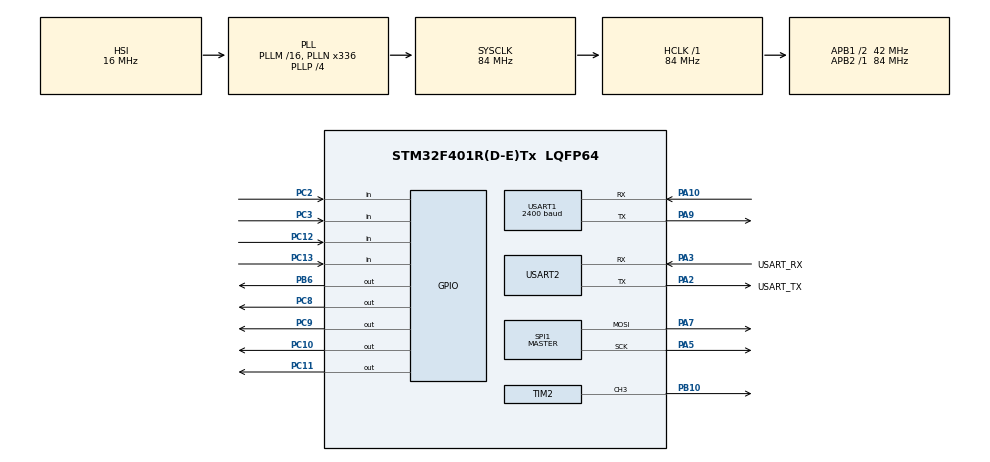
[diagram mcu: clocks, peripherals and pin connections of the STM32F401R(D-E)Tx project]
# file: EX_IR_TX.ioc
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Mcu.Family=STM32F4
Mcu.Name=STM32F401R(D-E)Tx
Mcu.Package=LQFP64
NVIC.PriorityGroup=NVIC_PRIORITYGROUP_0
NVIC.TIM1_BRK_TIM9_IRQn=true\:0\:0\:false\:false\:true\:true\:true\:true
NVIC.TIM1_CC_IRQn=true\:0\:0\:false\:false\:true\:true\:true\:true
NVIC.TIM1_TRG_COM_TIM11_IRQn=true\:0\:0\:false\:false\:true\:true\:true\:true
NVIC.TIM1_UP_TIM10_IRQn=true\:0\:0\:false\:false\:true\:true\:true\:true
NVIC.TIM3_IRQn=true\:0\:0\:false\:false\:true\:true\:true\:true
NVIC.TIM4_IRQn=true\:0\:0\:false\:false\:true\:true\:true\:true
NVIC.USART1_IRQn=true\:0\:0\:false\:false\:true\:true\:true\:true
PA10.Mode=Asynchronous
PA10.Signal=USART1_RX
PA13.GPIO_Label=TMS
PA13.Mode=Serial_Wire
PA13.Signal=SYS_JTMS-SWDIO
PA14.GPIO_Label=TCK
PA14.Mode=Serial_Wire
PA14.Signal=SYS_JTCK-SWCLK
PA2.GPIO_Label=USART_TX
PA2.GPIO_Mode=GPIO_MODE_AF_PP
PA2.GPIO_PuPd=GPIO_NOPULL
PA2.GPIO_Speed=GPIO_SPEED_FREQ_LOW
PA2.Mode=Asynchronous
PA2.Signal=USART2_TX
PA3.GPIO_Label=USART_RX
PA3.GPIO_Mode=GPIO_MODE_AF_PP
PA3.GPIO_PuPd=GPIO_NOPULL
PA3.GPIO_Speed=GPIO_SPEED_FREQ_LOW
PA3.Mode=Asynchronous
PA3.Signal=USART2_RX
PA5.Mode=TX_Only_Simplex_Unidirect_Master
PA5.Signal=SPI1_SCK
PA7.Mode=TX_Only_Simplex_Unidirect_Master
PA7.Signal=SPI1_MOSI
PA9.Mode=Asynchronous
PA9.Signal=USART1_TX
PB10.Signal=S_TIM2_CH3
PB3.GPIO_Label=SWO
PB3.Signal=SYS_JTDO-SWO
PB6.Signal=GPIO_Output
PC10.Signal=GPIO_Output
PC11.Signal=GPIO_Output
PC12.Signal=GPIO_Input
PC13-ANTI_TAMP.Signal=GPIO_Input
PC14-OSC32_IN.Mode=LSE-External-Oscillator
PC14-OSC32_IN.Signal=RCC_OSC32_IN
PC15-OSC32_OUT.Mode=LSE-External-Oscillator
PC15-OSC32_OUT.Signal=RCC_OSC32_OUT
PC2.Signal=GPIO_Input
PC3.Signal=GPIO_Input
PC8.Signal=GPIO_Output
PC9.Signal=GPIO_Output
PH0\ -\ OSC_IN.Mode=HSE-External-Clock-Source
PH0\ -\ OSC_IN.Signal=RCC_OSC_IN
PH1\ -\ OSC_OUT.Mode=HSE-External-Clock-Source
PH1\ -\ OSC_OUT.Signal=RCC_OSC_OUT
ProjectManager.HeapSize=0x200
ProjectManager.StackSize=0x400
ProjectManager.TargetToolchain=STM32CubeIDE
RCC.48MHZClocksFreq_Value=48000000
RCC.AHBFreq_Value=84000000
RCC.APB1CLKDivider=RCC_HCLK_DIV2
RCC.APB1Freq_Value=42000000
RCC.APB1TimFreq_Value=84000000
RCC.APB2Freq_Value=84000000
RCC.APB2TimFreq_Value=84000000
RCC.CortexFreq_Value=84000000
RCC.HCLKFreq_Value=84000000
RCC.HSE_VALUE=8000000
RCC.HSI_VALUE=16000000
RCC.PLLN=336
RCC.PLLP=RCC_PLLP_DIV4
RCC.PLLQ=7
RCC.SYSCLKFreq_VALUE=84000000
RCC.SYSCLKSource=RCC_SYSCLKSOURCE_PLLCLK
RCC.VCOOutputFreq_Value=336000000
SH.S_TIM2_CH3.0=TIM2_CH3,PWM Generation3 CH3
SPI1.Direction=SPI_DIRECTION_2LINES
SPI1.Mode=SPI_MODE_MASTER
SPI1.VirtualType=VM_MASTER
TIM1.Period=500-1
TIM1.Prescaler=8400-1
TIM2.Channel-PWM\ Generation3\ CH3=TIM_CHANNEL_3
TIM2.Period=2210-1
TIM2.Prescaler=1-1
TIM2.Pulse-PWM\ Generation3\ CH3=1105-1
TIM3.Period=35000-1
TIM3.Prescaler=1-1
TIM4.Period=40-1
TIM4.Prescaler=8400-1
USART1.BaudRate=2400
USART1.Mode=MODE_TX_RX
USART1.VirtualMode=VM_ASYNC
USART2.VirtualMode=VM_ASYNC
VP_TIM1_VS_ClockSourceINT.Mode=Internal
VP_TIM2_VS_ClockSourceINT.Mode=Internal
VP_TIM3_VS_ClockSourceINT.Mode=Internal
VP_TIM4_VS_ClockSourceINT.Mode=Internal
board=NUCLEO-F401RE

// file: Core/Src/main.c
/* USER CODE BEGIN Header */
/**
  ******************************************************************************
  * @file           : main.c
  * @brief          : Main program body
  ******************************************************************************
  * @attention
  *
  * Copyright (c) 2022 STMicroelectronics.
  * All rights reserved.
  *
  * This software is licensed under terms that can be found in the LICENSE file
  * in the root directory of this software component.
  * If no LICENSE file comes with this software, it is provided AS-IS.
  *
  ******************************************************************************
  */
/* USER CODE END Header */
#include "main.h"

/* USER CODE BEGIN PD */
//--------------- TRANSMISSION --------------------
//Pin setups for the keyboard
#define PIN_C0 GPIOC,GPIO_PIN_11
#define PIN_C1 GPIOC,GPIO_PIN_10
#define PIN_C2 GPIOC, GPIO_PIN_9
#define PIN_C3 GPIOC, GPIO_PIN_8

#define PIN_R0 GPIOC, GPIO_PIN_3
#define PIN_R1 GPIOC, GPIO_PIN_2
#define PIN_R2 GPIOC, GPIO_PIN_13
#define PIN_R3 GPIOC, GPIO_PIN_12

//Bit setups for payload
#define START_BIT_VALUE 0
#define STOP_BIT_VALUE 1
//--------------- RECEPTION -----------------------
//Clock pin
#define RCLK_PIN 		GPIOB, GPIO_PIN_6

#define TIME_UNIT		250

#define NUMBER_OF_CHAR	16

//LED Matrix setups for every character available
#define ZERO 			{{ 62,16}, {69,8}, { 73,4}, { 81,2}, { 62,1}}
#define ONE 			{{  0,16}, {33,8}, {127,4}, {  1,2}, {  0,1}}
#define TWO 			{{ 35,16}, {69,8}, { 73,4}, { 81,2}, { 33,1}}
#define THREE 			{{ 65,16}, {73,8}, { 73,4}, { 73,2}, { 54,1}}
#define FOUR 			{{ 12,16}, {20,8}, { 36,4}, {127,2}, {  4,1}}
#define FIVE 			{{121,16}, {73,8}, { 73,4}, { 73,2}, { 70,1}}
#define SIX 			{{ 62,16}, {73,8}, { 73,4}, { 73,2}, {  6,1}}
#define SEVEN 			{{ 64,16}, {64,8}, { 67,4}, { 76,2}, {112,1}}
#define EIGHT 			{{ 54,16}, {73,8}, { 73,4}, { 73,2}, { 54,1}}
#define NINE 			{{ 48,16}, {73,8}, { 73,4}, { 73,2}, { 62,1}}
#define A 				{{ 31,16}, {36,8}, { 68,4}, { 36,2}, { 31,1}}
#define B 				{{127,16}, {73,8}, { 73,4}, { 73,2}, { 54,1}}
#define C 				{{ 62,16}, {65,8}, { 65,4}, { 65,2}, { 34,1}}
#define D 				{{127,16}, {65,8}, { 65,4}, { 65,2}, { 62,1}}
#define E 				{{127,16}, {73,8}, { 73,4}, { 73,2}, { 65,1}}
#define F 				{{127,16}, {72,8}, { 72,4}, { 72,2}, { 64,1}}
/* USER CODE END PD */

SPI_HandleTypeDef hspi1;

TIM_HandleTypeDef htim1;
TIM_HandleTypeDef htim2;
TIM_HandleTypeDef htim3;
TIM_HandleTypeDef htim4;

UART_HandleTypeDef huart1;
UART_HandleTypeDef huart2;

void SystemClock_Config(void);
static void MX_GPIO_Init(void);
static void MX_USART2_UART_Init(void);
static void MX_TIM2_Init(void);
static void MX_USART1_UART_Init(void);
static void MX_SPI1_Init(void);
static void MX_TIM3_Init(void);
static void MX_TIM1_Init(void);
static void MX_TIM4_Init(void);

/* USER CODE BEGIN 0 */

//----------- TRANSMISSION -------------------
int column_counter = 0,counter, bit_counter;

//keyboard settings
uint32_t pressedButtons[16];
uint32_t ack[16] = {0};

uint16_t bits[10]; //bits to be transmitted 1 start bit + 8bit payload + 1 stop bit

char map[16] = "FB73EA62D951C840";

//----------- RECEPTION -----------------------
int column_index = 0, char_index = 0;
int counter_time = 0;

uint8_t message;  //stores the received char

//Tridimensional matrix used to assign the correct one to be shown by the LED matrix
uint8_t matrix[NUMBER_OF_CHAR][5][2] = {ZERO, ONE, TWO, THREE, FOUR, FIVE, SIX, SEVEN, EIGHT, NINE, A, B, C, D, E, F};
uint8_t reset_values[2] = {0, 0};

void HAL_TIM_PeriodElapsedCallback(TIM_HandleTypeDef *htim)
{
	if(htim == &htim1)
	{
		//Checks if a button of the row is pressed
		 if(HAL_GPIO_ReadPin(PIN_R0))
			 pressedButtons[4*column_counter] = 0;
		 else
			 pressedButtons[4*column_counter]++;

		 if(HAL_GPIO_ReadPin(PIN_R1))
			 pressedButtons[4*column_counter+1] = 0; //0-> button is not pressed or released
		 else
			 pressedButtons[4*column_counter+1]++; //increment for the duration of pressing

		 if(HAL_GPIO_ReadPin(PIN_R2))
			 pressedButtons[4*column_counter+2] = 0;
		 else
			 pressedButtons[4*column_counter+2]++;

		 if(HAL_GPIO_ReadPin(PIN_R3))
			 pressedButtons[4*column_counter+3] = 0;
		 else
			 pressedButtons[4*column_counter+3]++;

		 column_counter++;
		 if(column_counter == 4) column_counter = 0;

		//Toggles the current column to scan the rows
		 switch(column_counter)
		 {
			 case 0:
				 HAL_GPIO_WritePin(PIN_C0, 1);
				 HAL_GPIO_WritePin(PIN_C1, 0);
				 HAL_GPIO_WritePin(PIN_C2, 0);
				 HAL_GPIO_WritePin(PIN_C3, 0);
				 break;
			 case 1:
				 HAL_GPIO_WritePin(PIN_C1, 1);
				 HAL_GPIO_WritePin(PIN_C0, 0);
				 HAL_GPIO_WritePin(PIN_C2, 0);
				 HAL_GPIO_WritePin(PIN_C3, 0);
				 break;
			 case 2:
				 HAL_GPIO_WritePin(PIN_C2, 1);
				 HAL_GPIO_WritePin(PIN_C1, 0);
				 HAL_GPIO_WritePin(PIN_C0, 0);
				 HAL_GPIO_WritePin(PIN_C3, 0);
				 break;
			 case 3:
				 HAL_GPIO_WritePin(PIN_C3, 1);
				 HAL_GPIO_WritePin(PIN_C1, 0);
				 HAL_GPIO_WritePin(PIN_C2, 0);
				 HAL_GPIO_WritePin(PIN_C0, 0);
				 break;
		 }
	}else if(htim == &htim3)
	{
		//for every interrupt we send out a single bit
		if(bit_counter <=9)
		{
			if(!bits[bit_counter]) //if bit = 0 LED pulses at 38kHz
			{
				HAL_TIM_PWM_Start(&htim2, TIM_CHANNEL_3);
			}
			else //otherwise it shuts down
			{
				HAL_TIM_PWM_Stop(&htim2, TIM_CHANNEL_3);
			}
		 }
		 else // when we get to the last bit (the 10th) we shut down PWM and Timer 3
	     {
			HAL_TIM_PWM_Stop(&htim2, TIM_CHANNEL_3);
			HAL_TIM_Base_Stop_IT(&htim3);
	     }
		 bit_counter ++;
	}else if (htim == &htim4)
	{
			//SPI usage
	}
}

void send_character(uint8_t payload)
{

	//auxiliary variable that holds the current bit to be sent out
	uint8_t current_v;

	bits[0] = START_BIT_VALUE; //1 to start communication
	bits[9] = STOP_BIT_VALUE;  //0 to stop communication

	for(int i = 0;i < 8 ; i++)
	{
		//filter only the ith bit, as the transmission is LSB->MSB
		current_v = (payload >> i) & 0b00000001;

		//sets up the bit string to be sent out
		bits[i+1] = current_v;
	}

    //resets the bit_counter which is later used for transmission
	bit_counter = 0;

	//starts the timer 3, which operates at a 2400 bps speed
	HAL_TIM_Base_Start_IT(&htim3);
}

void HAL_UART_RxCpltCallback(UART_HandleTypeDef *huart)
{
	if(huart == &huart1)
	{
		//Upon reception, send the received character to the remote terminal of the PC
		HAL_UART_Transmit(&huart2, &message, 1, 200);

		//Restart the uart1 for following messages
		HAL_UART_Receive_IT(&huart1, &message, 1);
	}

}
/* USER CODE END 0 */

int main(void)
{

  /* MCU Configuration--------------------------------------------------------*/

  /* Reset of all peripherals, Initializes the Flash interface and the Systick. */
  HAL_Init();

  /* Configure the system clock */
  SystemClock_Config();

  /* Initialize all configured peripherals */
  MX_GPIO_Init();
  MX_USART2_UART_Init();
  MX_TIM2_Init();
  MX_USART1_UART_Init();
  MX_SPI1_Init();
  MX_TIM3_Init();
  MX_TIM1_Init();
  MX_TIM4_Init();
  /* USER CODE BEGIN 2 */
  int min_duration = 2;
  HAL_TIM_Base_Start_IT(&htim1);
  uint8_t payload = 0b00000000;
  HAL_UART_Receive_IT(&huart1, &message, 1); //assigns to message variable the received byte

  /* USER CODE END 2 */

  /* Infinite loop */
  /* USER CODE BEGIN WHILE */
  while (1)
  {
	  for(counter = 0; counter < 16; counter++)
	  	 {
	  		 if(pressedButtons[counter] > min_duration) //if you press the button for more than 50*3 milliseconds it will be considered
	  		 {
	  			 if(!ack[counter])
	  			 {
	  				 //HAL_UART_Transmit(&huart2, &map[counter], 1, 200);
	  				 //send the pressed character via IR
	  				 payload = map[counter];
	  				 send_character(payload);
	  				 ack[counter] = 1;
	  			 }

	  		 }else
	  		 {
	  			 ack[counter] = 0;
	  		 }
	  	 }
    /* USER CODE END WHILE */

  }
}

void SystemClock_Config(void)
{
  RCC_OscInitTypeDef RCC_OscInitStruct = {0};
  RCC_ClkInitTypeDef RCC_ClkInitStruct = {0};

  /** Configure the main internal regulator output voltage
  */
  __HAL_RCC_PWR_CLK_ENABLE();
  __HAL_PWR_VOLTAGESCALING_CONFIG(PWR_REGULATOR_VOLTAGE_SCALE2);
  /** Initializes the RCC Oscillators according to the specified parameters
  * in the RCC_OscInitTypeDef structure.
  */
  RCC_OscInitStruct.OscillatorType = RCC_OSCILLATORTYPE_HSI;
  RCC_OscInitStruct.HSIState = RCC_HSI_ON;
  RCC_OscInitStruct.HSICalibrationValue = RCC_HSICALIBRATION_DEFAULT;
  RCC_OscInitStruct.PLL.PLLState = RCC_PLL_ON;
  RCC_OscInitStruct.PLL.PLLSource = RCC_PLLSOURCE_HSI;
  RCC_OscInitStruct.PLL.PLLM = 16;
  RCC_OscInitStruct.PLL.PLLN = 336;
  RCC_OscInitStruct.PLL.PLLP = RCC_PLLP_DIV4;
  RCC_OscInitStruct.PLL.PLLQ = 7;
  if (HAL_RCC_OscConfig(&RCC_OscInitStruct) != HAL_OK)
  {
    Error_Handler();
  }
  /** Initializes the CPU, AHB and APB buses clocks
  */
  RCC_ClkInitStruct.ClockType = RCC_CLOCKTYPE_HCLK|RCC_CLOCKTYPE_SYSCLK
                              |RCC_CLOCKTYPE_PCLK1|RCC_CLOCKTYPE_PCLK2;
  RCC_ClkInitStruct.SYSCLKSource = RCC_SYSCLKSOURCE_PLLCLK;
  RCC_ClkInitStruct.AHBCLKDivider = RCC_SYSCLK_DIV1;
  RCC_ClkInitStruct.APB1CLKDivider = RCC_HCLK_DIV2;
  RCC_ClkInitStruct.APB2CLKDivider = RCC_HCLK_DIV1;

  if (HAL_RCC_ClockConfig(&RCC_ClkInitStruct, FLASH_LATENCY_2) != HAL_OK)
  {
    Error_Handler();
  }
}

static void MX_SPI1_Init(void)
{

  /* SPI1 parameter configuration*/
  hspi1.Instance = SPI1;
  hspi1.Init.Mode = SPI_MODE_MASTER;
  hspi1.Init.Direction = SPI_DIRECTION_2LINES;
  hspi1.Init.DataSize = SPI_DATASIZE_8BIT;
  hspi1.Init.CLKPolarity = SPI_POLARITY_LOW;
  hspi1.Init.CLKPhase = SPI_PHASE_1EDGE;
  hspi1.Init.NSS = SPI_NSS_SOFT;
  hspi1.Init.BaudRatePrescaler = SPI_BAUDRATEPRESCALER_2;
  hspi1.Init.FirstBit = SPI_FIRSTBIT_MSB;
  hspi1.Init.TIMode = SPI_TIMODE_DISABLE;
  hspi1.Init.CRCCalculation = SPI_CRCCALCULATION_DISABLE;
  hspi1.Init.CRCPolynomial = 10;
  if (HAL_SPI_Init(&hspi1) != HAL_OK)
  {
    Error_Handler();
  }

}

static void MX_TIM1_Init(void)
{

  TIM_ClockConfigTypeDef sClockSourceConfig = {0};
  TIM_MasterConfigTypeDef sMasterConfig = {0};

  htim1.Instance = TIM1;
  htim1.Init.Prescaler = 8400-1;
  htim1.Init.CounterMode = TIM_COUNTERMODE_UP;
  htim1.Init.Period = 500-1;
  htim1.Init.ClockDivision = TIM_CLOCKDIVISION_DIV1;
  htim1.Init.RepetitionCounter = 0;
  htim1.Init.AutoReloadPreload = TIM_AUTORELOAD_PRELOAD_DISABLE;
  if (HAL_TIM_Base_Init(&htim1) != HAL_OK)
  {
    Error_Handler();
  }
  sClockSourceConfig.ClockSource = TIM_CLOCKSOURCE_INTERNAL;
  if (HAL_TIM_ConfigClockSource(&htim1, &sClockSourceConfig) != HAL_OK)
  {
    Error_Handler();
  }
  sMasterConfig.MasterOutputTrigger = TIM_TRGO_RESET;
  sMasterConfig.MasterSlaveMode = TIM_MASTERSLAVEMODE_DISABLE;
  if (HAL_TIMEx_MasterConfigSynchronization(&htim1, &sMasterConfig) != HAL_OK)
  {
    Error_Handler();
  }

}

static void MX_TIM2_Init(void)
{

  TIM_ClockConfigTypeDef sClockSourceConfig = {0};
  TIM_MasterConfigTypeDef sMasterConfig = {0};
  TIM_OC_InitTypeDef sConfigOC = {0};

  htim2.Instance = TIM2;
  htim2.Init.Prescaler = 1-1;
  htim2.Init.CounterMode = TIM_COUNTERMODE_UP;
  htim2.Init.Period = 2210-1;
  htim2.Init.ClockDivision = TIM_CLOCKDIVISION_DIV1;
  htim2.Init.AutoReloadPreload = TIM_AUTORELOAD_PRELOAD_DISABLE;
  if (HAL_TIM_Base_Init(&htim2) != HAL_OK)
  {
    Error_Handler();
  }
  sClockSourceConfig.ClockSource = TIM_CLOCKSOURCE_INTERNAL;
  if (HAL_TIM_ConfigClockSource(&htim2, &sClockSourceConfig) != HAL_OK)
  {
    Error_Handler();
  }
  if (HAL_TIM_PWM_Init(&htim2) != HAL_OK)
  {
    Error_Handler();
  }
  sMasterConfig.MasterOutputTrigger = TIM_TRGO_RESET;
  sMasterConfig.MasterSlaveMode = TIM_MASTERSLAVEMODE_DISABLE;
  if (HAL_TIMEx_MasterConfigSynchronization(&htim2, &sMasterConfig) != HAL_OK)
  {
    Error_Handler();
  }
  sConfigOC.OCMode = TIM_OCMODE_PWM1;
  sConfigOC.Pulse = 1105-1;
  sConfigOC.OCPolarity = TIM_OCPOLARITY_HIGH;
  sConfigOC.OCFastMode = TIM_OCFAST_DISABLE;
  if (HAL_TIM_PWM_ConfigChannel(&htim2, &sConfigOC, TIM_CHANNEL_3) != HAL_OK)
  {
    Error_Handler();
  }
  HAL_TIM_MspPostInit(&htim2);

}

static void MX_TIM3_Init(void)
{

  TIM_ClockConfigTypeDef sClockSourceConfig = {0};
  TIM_MasterConfigTypeDef sMasterConfig = {0};

  htim3.Instance = TIM3;
  htim3.Init.Prescaler = 1-1;
  htim3.Init.CounterMode = TIM_COUNTERMODE_UP;
  htim3.Init.Period = 35000-1;
  htim3.Init.ClockDivision = TIM_CLOCKDIVISION_DIV1;
  htim3.Init.AutoReloadPreload = TIM_AUTORELOAD_PRELOAD_DISABLE;
  if (HAL_TIM_Base_Init(&htim3) != HAL_OK)
  {
    Error_Handler();
  }
  sClockSourceConfig.ClockSource = TIM_CLOCKSOURCE_INTERNAL;
  if (HAL_TIM_ConfigClockSource(&htim3, &sClockSourceConfig) != HAL_OK)
  {
    Error_Handler();
  }
  sMasterConfig.MasterOutputTrigger = TIM_TRGO_RESET;
  sMasterConfig.MasterSlaveMode = TIM_MASTERSLAVEMODE_DISABLE;
  if (HAL_TIMEx_MasterConfigSynchronization(&htim3, &sMasterConfig) != HAL_OK)
  {
    Error_Handler();
  }

}

static void MX_TIM4_Init(void)
{

  TIM_ClockConfigTypeDef sClockSourceConfig = {0};
  TIM_MasterConfigTypeDef sMasterConfig = {0};

  htim4.Instance = TIM4;
  htim4.Init.Prescaler = 8400-1;
  htim4.Init.CounterMode = TIM_COUNTERMODE_UP;
  htim4.Init.Period = 40-1;
  htim4.Init.ClockDivision = TIM_CLOCKDIVISION_DIV1;
  htim4.Init.AutoReloadPreload = TIM_AUTORELOAD_PRELOAD_DISABLE;
  if (HAL_TIM_Base_Init(&htim4) != HAL_OK)
  {
    Error_Handler();
  }
  sClockSourceConfig.ClockSource = TIM_CLOCKSOURCE_INTERNAL;
  if (HAL_TIM_ConfigClockSource(&htim4, &sClockSourceConfig) != HAL_OK)
  {
    Error_Handler();
  }
  sMasterConfig.MasterOutputTrigger = TIM_TRGO_RESET;
  sMasterConfig.MasterSlaveMode = TIM_MASTERSLAVEMODE_DISABLE;
  if (HAL_TIMEx_MasterConfigSynchronization(&htim4, &sMasterConfig) != HAL_OK)
  {
    Error_Handler();
  }

}

static void MX_USART1_UART_Init(void)
{

  huart1.Instance = USART1;
  huart1.Init.BaudRate = 2400;
  huart1.Init.WordLength = UART_WORDLENGTH_8B;
  huart1.Init.StopBits = UART_STOPBITS_1;
  huart1.Init.Parity = UART_PARITY_NONE;
  huart1.Init.Mode = UART_MODE_TX_RX;
  huart1.Init.HwFlowCtl = UART_HWCONTROL_NONE;
  huart1.Init.OverSampling = UART_OVERSAMPLING_16;
  if (HAL_UART_Init(&huart1) != HAL_OK)
  {
    Error_Handler();
  }

}

static void MX_USART2_UART_Init(void)
{

  huart2.Instance = USART2;
  huart2.Init.BaudRate = 115200;
  huart2.Init.WordLength = UART_WORDLENGTH_8B;
  huart2.Init.StopBits = UART_STOPBITS_1;
  huart2.Init.Parity = UART_PARITY_NONE;
  huart2.Init.Mode = UART_MODE_TX_RX;
  huart2.Init.HwFlowCtl = UART_HWCONTROL_NONE;
  huart2.Init.OverSampling = UART_OVERSAMPLING_16;
  if (HAL_UART_Init(&huart2) != HAL_OK)
  {
    Error_Handler();
  }

}

static void MX_GPIO_Init(void)
{
  GPIO_InitTypeDef GPIO_InitStruct = {0};

  /* GPIO Ports Clock Enable */
  __HAL_RCC_GPIOC_CLK_ENABLE();
  __HAL_RCC_GPIOH_CLK_ENABLE();
  __HAL_RCC_GPIOA_CLK_ENABLE();
  __HAL_RCC_GPIOB_CLK_ENABLE();

  /*Configure GPIO pin Output Level */
  HAL_GPIO_WritePin(GPIOC, GPIO_PIN_8|GPIO_PIN_9|GPIO_PIN_10|GPIO_PIN_11, GPIO_PIN_RESET);

  /*Configure GPIO pin Output Level */
  HAL_GPIO_WritePin(GPIOB, GPIO_PIN_6, GPIO_PIN_RESET);

  /*Configure GPIO pins : PC13 PC2 PC3 PC12 */
  GPIO_InitStruct.Pin = GPIO_PIN_13|GPIO_PIN_2|GPIO_PIN_3|GPIO_PIN_12;
  GPIO_InitStruct.Mode = GPIO_MODE_INPUT;
  GPIO_InitStruct.Pull = GPIO_NOPULL;
  HAL_GPIO_Init(GPIOC, &GPIO_InitStruct);

  /*Configure GPIO pins : PC8 PC9 PC10 PC11 */
  GPIO_InitStruct.Pin = GPIO_PIN_8|GPIO_PIN_9|GPIO_PIN_10|GPIO_PIN_11;
  GPIO_InitStruct.Mode = GPIO_MODE_OUTPUT_PP;
  GPIO_InitStruct.Pull = GPIO_NOPULL;
  GPIO_InitStruct.Speed = GPIO_SPEED_FREQ_LOW;
  HAL_GPIO_Init(GPIOC, &GPIO_InitStruct);

  /*Configure GPIO pin : PB6 */
  GPIO_InitStruct.Pin = GPIO_PIN_6;
  GPIO_InitStruct.Mode = GPIO_MODE_OUTPUT_PP;
  GPIO_InitStruct.Pull = GPIO_NOPULL;
  GPIO_InitStruct.Speed = GPIO_SPEED_FREQ_LOW;
  HAL_GPIO_Init(GPIOB, &GPIO_InitStruct);

}

void Error_Handler(void)
{
  __disable_irq();
  while (1)
  {
  }
}
